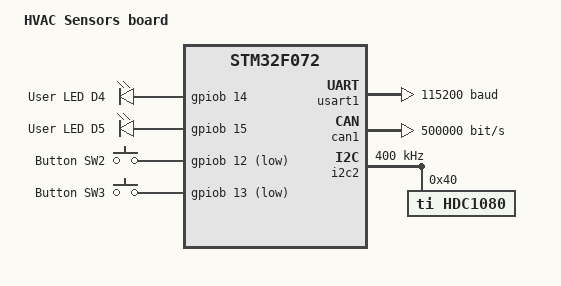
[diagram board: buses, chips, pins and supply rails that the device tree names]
/*
 * Copyright (c) 2018 Josef Raschen
 *
 * SPDX-License-Identifier: Apache-2.0
 */

/dts-v1/;
#include <st/f0/stm32f072X8.dtsi>

/ {
	model = "HVAC Sensors board";
	compatible = "raschen-elektronik,hvac_sensors", "st,stm32f072";

	chosen {
		zephyr,console = &usart1;
		zephyr,sram = &sram0;
		zephyr,flash = &flash0;
	};


	leds {
		compatible = "gpio-leds";
		led_d4: led_1 {
			gpios = <&gpiob 14 GPIO_INT_ACTIVE_HIGH>;
			label = "User LED D4";
		};
		led_d5: led_2 {
			gpios = <&gpiob 15 GPIO_INT_ACTIVE_HIGH>;
			label = "User LED D5";
		};
	};

	gpio_keys {
		compatible = "gpio-keys";
		switch_sw2: button_0 {
			label = "Button SW2";
			gpios = <&gpiob 12 GPIO_INT_ACTIVE_LOW>;
		};
		switch_sw3: buttonr_1 {
			label = "Button SW3";
			gpios = <&gpiob 13 GPIO_INT_ACTIVE_LOW>;
		};
	};

	aliases {
		led0 = &led_d4;
		led1 = &led_d5;
		sw0 = &switch_sw2;
		sw1 = &switch_sw3;
	};
};

&usart1 {
	current-speed = <115200>;
	pinctrl-0 = <&usart1_pins_a>;
	pinctrl-names = "default";
	status = "ok";
};

&can1 {
    pinctrl-0 = <&can_pins_a>;
    pinctrl-names = "default";
    bus-speed = <500000>;
    status = "ok";
};

&i2c2 {
	status = "ok";
	clock-frequency = <I2C_BITRATE_FAST>;

    hdc1080: hdc1080@40 {
        compatible = "ti,hdc1080";
        reg = <0x40>;
        label = "HDC1080";
    };
    
};
